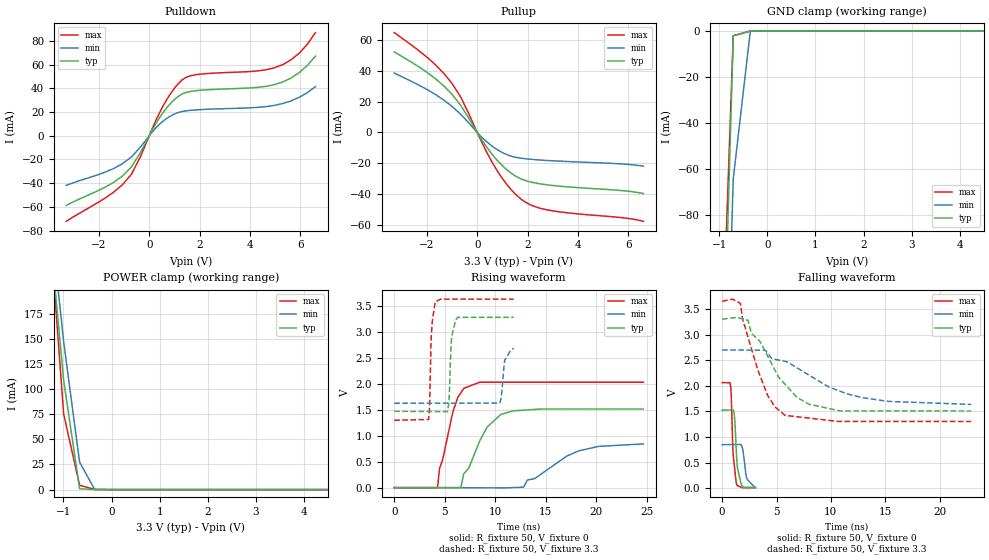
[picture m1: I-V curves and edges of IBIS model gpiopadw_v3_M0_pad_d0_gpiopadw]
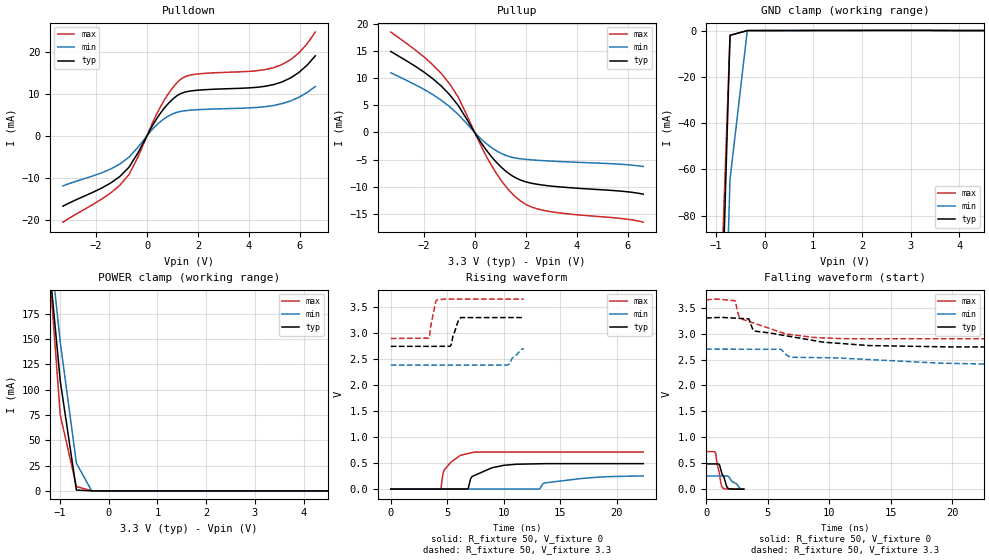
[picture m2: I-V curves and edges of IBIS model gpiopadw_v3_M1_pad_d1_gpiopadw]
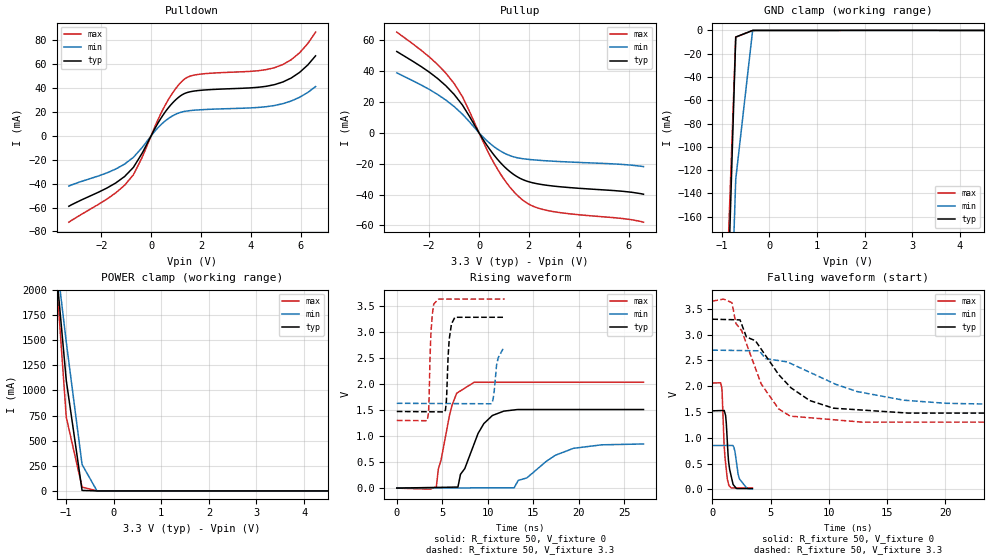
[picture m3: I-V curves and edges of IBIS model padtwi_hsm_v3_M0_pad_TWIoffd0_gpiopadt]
|   - ATMEL Microcontrollers -
|   IBIS model for SAMD21_TQFP64
[IBIS Ver]   4.2
[Comment char]  |_char
[File Name]   samda1_3t64.ibs
[File Rev]   1.0
[Date]   9-SEP-2015 10:12:33
[Source]   By GENIBIS V3.5 - GENerate chip IBIS model - 07-SEP-2015
[Notes]   Property of ATMEL Corporation
[Disclaimer]
                  (C) Copyright ATMEL Nantes 2002-2015
Atmel Nantes makes no warranty for the use of its products, other than
those expressly contained in the Company's standard warranty which is detailed
in Atmel's Terms and Conditions located on the Company's web site. The Company
assumes no responsability for any errors which may appear in this document.
The user is granted this license only to use the IBIS model and is not granted
rights to sell, load, rent, lease or license the IBIS model in whole or in part,
or in modified form to anyone other than user. User may modify the IBIS model
to suit its specific applications but rights to derivative works and such
modifications shall belong to Atmel Nantes.
This IBIS model is provided on an \"AS IS\" basis and Atmel Nantes makes
absolutely no warranty with respect to the information contained herein.
[Copyright]   Copyright (c) 2002-2015 by ATMEL Nantes SA
|   COMPONENT : SAMD21_TQFP64
[Component]   SAMD21_TQFP64
[Manufacturer]  ATMEL Nantes SAS
[Package]
| Package family : TQFP_L
| RLC file   : V1.0
| RLCEDIT tool   : V1.3-2009/04/07
| variable   typ   min   max
R_pkg   250.18m   122.57m   300.80m
L_pkg   8.62n   4.19n   10.38n
C_pkg   373.74f   366.79f   384.07f
[Pin]   signal_name   model_name   R_pin   L_pin   C_pin
|   Real model names   <--->   IBIS model names
|   gpiopadw100m33v3p66k25   gpiopadw_v3
|   gpiopadw100m33v3p66k25   gpiopadw_v3
|  gpiopadtwihsmw100m33v3p66k25   gpiopadtwi_hsm_v3
|  gpiopadtwihsmw100m33v3p66k25   gpiopadtwi_hsm_v3
|  gpiopadtwihsmw100m33v3p66k25   gpiopadtwi_hsm_v3
|  gpiopadtwihsmw100m33v3p66k25   gpiopadtwi_hsm_v3
|  gpiopadtwihsmw100m33v3p66k25   gpiopadtwi_hsm_v3
   1   PA00   gpiopadw_v3  283.35m   9.63n  373.72f
   2   PA01   gpiopadw_v3  263.35m   9.25n  373.60f
   3   PA02   gpiopadw_v3  273.35m   9.29n  373.61f
   4   PA03   gpiopadw_v3  263.35m   9.03n  373.53f
   5   PB04   gpiopadw_v3  253.35m   8.74n  373.44f
   6   PB05   gpiopadw_v3  243.35m   8.53n  373.37f
   7   GNDANA   GND  130.02m   4.56n  377.04f
   8   VDDANA   POWER  158.35m   5.53n  375.20f
   9   PB06   gpiopadw_v3  243.35m   8.39n  373.33f
   10   PB07   gpiopadw_v3  243.35m   8.32n  373.31f
   11   PB08   gpiopadw_v3  243.35m   8.27n  373.29f
   12   PB09   gpiopadw_v3  243.35m   8.33n  373.31f
   13   PA04   gpiopadw_v3  243.35m   8.48n  373.36f
   14   PA05   gpiopadw_v3  253.35m   8.67n  373.42f
   15   PA06   gpiopadw_v3  263.35m   8.98n  373.52f
   16   PA07   gpiopadw_v3  273.35m   9.35n  373.63f
   17   PA08   gpiopadtwi_hsm_v3  293.35m   10.02n  373.84f
   18   PA09   gpiopadtwi_hsm_v3  283.35m   9.69n  373.74f
   19   PA10   gpiopadw_v3  273.35m   9.34n  373.63f
   20   PA11   gpiopadw_v3  263.35m   9.04n  373.54f
   21   VDDIO   POWER  253.35m   8.83n  373.47f
   22   GND   GND  253.35m   8.71n  373.43f
   23   PB10   gpiopadw_v3  253.35m   8.68n  373.42f
   24   PB11   gpiopadw_v3  253.35m   8.74n  373.44f
   25   PB12   gpiopadtwi_hsm_v3  253.35m   8.75n  373.44f
   26   PB13   gpiopadtwi_hsm_v3  253.35m   8.77n  373.45f
   27   PB14   gpiopadw_v3  253.35m   8.73n  373.44f
   28   PB15   gpiopadw_v3  253.35m   8.87n  373.48f
   29   PA12   gpiopadtwi_hsm_v3  263.35m   9.03n  373.53f
   30   PA13   gpiopadtwi_hsm_v3  263.35m   9.24n  373.60f
   31   PA14   gpiopadw_v3  273.35m   9.48n  373.67f
   32   PA15   gpiopadw_v3  273.35m   9.42n  373.66f
   33   GND   GND  273.35m   9.35n  373.63f
   34   VDDIO   POWER  263.35m   8.98n  373.52f
   35   PA16   gpiopadtwi_hsm_v3  253.35m   8.82n  373.47f
   36   PA17   gpiopadtwi_hsm_v3  253.35m   8.62n  373.40f
   37   PA18   gpiopadw_v3  243.35m   8.42n  373.34f
   38   PA19   gpiopadw_v3  243.35m   8.32n  373.31f
   39   PB16   gpiopadtwi_hsm_v3  243.35m   8.32n  373.31f
   40   PB17   gpiopadtwi_hsm_v3  243.35m   8.39n  373.33f
   41   PA20   gpiopadw_v3  243.35m   8.45n  373.35f
   42   PA21   gpiopadw_v3  243.35m   8.54n  373.38f
   43   PA22   gpiopadtwi_hsm_v3  243.35m   8.51n  373.37f
   44   PA23   gpiopadtwi_hsm_v3  253.35m   8.65n  373.41f
   45   PA24   NC  253.35m   8.90n  373.49f
   46   PA25   NC  253.35m   8.81n  373.46f
   47   GND   GND  263.35m   9.12n  373.56f
   48   VDDIO   POWER  273.35m   9.51n  373.69f
   49   PB22   gpiopadw_v3  283.35m   9.77n  373.77f
   50   PB23   gpiopadw_v3  273.35m   9.42n  373.66f
   51   PA27   gpiopadw_v3  283.35m   9.62n  373.72f
   52   RESET_N   gpiopadw_v3  273.35m   9.37n  373.64f
   53   PA28   gpiopadw_v3  263.35m   9.09n  373.55f
   54   GND   GND  136.68m   4.74n  377.57f
   55   VDDCORE   POWER  135.53m   4.72n  377.50f
   56   VDDIN   POWER  163.35m   5.74n  375.46f
   57   PA30   gpiopadw_v3  253.35m   8.77n  373.45f
   58   PA31   gpiopadw_v3  253.35m   8.66n  373.41f
   59   PB30   gpiopadtwi_hsm_v3  253.35m   8.61n  373.40f
   60   PB31   gpiopadtwi_hsm_v3  253.35m   8.63n  373.40f
   61   PB00   gpiopadw_v3  253.35m   8.66n  373.41f
   62   PB01   gpiopadw_v3  253.35m   8.77n  373.45f
   63   PB02   gpiopadw_v3  263.35m   9.02n  373.53f
   64   PB03   gpiopadw_v3  283.35m   9.70n  373.75f
|   MODEL SELECTOR : gpiopadtwi_hsm_v3
[Model Selector]   gpiopadtwi_hsm_v3
piopadtwi_hsm_v3_M4_pad_TWIHS_gpiopadt   TWI on HS mode
padtwi_hsm_v3_M3_pad_TWIfastp_gpiopadt   TWI on fastp mode
opadtwi_hsm_v3_M2_pad_TWIfast_gpiopadt   TWI on fast mode
padtwi_hsm_v3_M1_pad_TWIoffd1_gpiopadt   TWI off Drive 1
padtwi_hsm_v3_M0_pad_TWIoffd0_gpiopadt   TWI off Drive 0
|   MODEL SELECTOR : gpiopadw_v3
[Model Selector]   gpiopadw_v3
gpiopadw_v3_M1_pad_d1_gpiopadw   Drive 1
gpiopadw_v3_M0_pad_d0_gpiopadw   Drive 0
| Models and submodels in the file (7): gpiopadw_v3_M0_pad_d0_gpiopadw (I/O), gpiopadw_v3_M1_pad_d1_gpiopadw (I/O), padtwi_hsm_v3_M0_pad_TWIoffd0_gpiopadt (I/O), padtwi_hsm_v3_M1_pad_TWIoffd1_gpiopadt (I/O), opadtwi_hsm_v3_M2_pad_TWIfast_gpiopadt (I/O_open_sink), padtwi_hsm_v3_M3_pad_TWIfastp_gpiopadt (I/O_open_sink), piopadtwi_hsm_v3_M4_pad_TWIHS_gpiopadt (I/O_open_sink)
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|   MODEL : gpiopadw_v3_M0_pad_d0_gpiopadw
[Model] gpiopadw_v3_M0_pad_d0_gpiopadw
Model_type I/O
Vinl  =  0.99
Vinh  =  2.31
Vmeas =  1.650
| Capacitance   typ   min   max
C_comp   1.66304312273e-12   1.63252795871e-12   1.70861930316e-12
| Variables   typ   min   max
[GND Clamp Reference]   0   0   0
[POWER Clamp Reference]   3.3   2.7   3.65
[Pulldown Reference]   0   0   0
[Pullup Reference]   3.3   2.7   3.65
[Temperature Range]   25   125   -40
[Voltage Range]   3.3   2.7   3.65
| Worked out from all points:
|   slope of the pulldown table from 0 to 0.495 V, typ, clamps not added: 27.5 ohm
|   slope of the pullup table from 0 to 0.495 V, typ, clamps not added: 40.8 ohm
|   falling waveform, R_fixture 50, V_fixture 0: 20-80 % time 298ps typ, 361ps min, 272ps max; typ from 1.52 V to 0.019 V
|   falling waveform, R_fixture 50, V_fixture 3.3: 20-80 % time 3.38ns typ, 5.86ns min, 2.25ns max; typ from 3.3 V to 1.51 V
|   rising waveform, R_fixture 50, V_fixture 0: 20-80 % time 2.4ns typ, 4.07ns min, 1.55ns max; typ from 0 V to 1.52 V
|   rising waveform, R_fixture 50, V_fixture 3.3: 20-80 % time 259ps typ, 352ps min, 230ps max; typ from 1.47 V to 3.29 V
[GND Clamp]
| Voltage   I(typ)   I(min)   I(max)
-3.3V     -2.362A    -2.027A    -2.873A
-1.064V   -257.9mA   -309.5mA   -212.6mA
-709.1mV  -2.081mA   -64.32mA   -2.027mA
-354.5mV  -9.795uA   -18.97uA   -10.28uA
6.6V      0A         0A         0A
[POWER Clamp]
| Voltage   I(typ)   I(min)   I(max)
-3.3V     1.517A     1.371A     1.827A
-1.327V   278.9mA    297.7mA    290.1mA
-995.5mV  108.7mA    147.1mA    75.16mA
-663.6mV  871.4uA    27.33mA    4.301mA
-350mV    92.45uA    84.3uA     195.9uA
6.6V      0A         0A         0A
[Pulldown]
| Voltage   I(typ)   I(min)   I(max)
-3.3V     -58.88mA   -41.96mA   -72.24mA
-1.418V   -39.39mA   -27.71mA   -47.66mA
-709.1mV  -26.31mA   -17.91mA   -32.48mA
-354.5mV  -14.28mA   -9.586mA   -17.76mA
515.6mV   18.6mA     11.67mA    23.82mA
928.1mV   29.06mA    17.55mA    37.97mA
1.341V    35.5mA     20.52mA    47.61mA
1.959V    38.15mA    21.89mA    51.71mA
4.959V    43mA       25.51mA    57.2mA
5.623V    48.51mA    29.27mA    63.83mA
5.955V    53.16mA    32.34mA    69.54mA
6.6V      67.08mA    41.35mA    86.97mA
[Pullup]
| Voltage   I(typ)   I(min)   I(max)
-3.3V     52.49mA    38.7mA     65.06mA
-1.991V   39.1mA     27.93mA    48.92mA
-1.327V   30.29mA    21.05mA    38.45mA
-995.5mV  24.69mA    16.87mA    31.75mA
-663.6mV  17.83mA    11.94mA    23.26mA
206.2mV   -5.471mA   -3.514mA   -7.179mA
670.3mV   -15.85mA   -9.846mA   -21.64mA
1.238V    -25.15mA   -14.82mA   -35.16mA
1.753V    -30.32mA   -16.81mA   -43.55mA
2.217V    -32.63mA   -17.62mA   -47.88mA
2.888V    -34.35mA   -18.36mA   -50.77mA
6.6V      -39.82mA   -21.92mA   -57.89mA
[Ramp]
dV/dt_r   0.913465/2.40986n  0.509894/4.08937n  1.23694/1.57578n
dV/dt_f   1.09591/3.45864n  0.641714/5.88566n  1.40951/2.25851n
R_load = 50
[Falling Waveform]
R_fixture = 50
V_fixture = 0
V_fixture_min = 0
V_fixture_max = 0
| Time   V(typ)   V(min)   V(max)
0s        1.522V     849.8mV    2.062V
728.3ps   1.528V     851.9mV    2.059V
803.6ps   1.528V     852.1mV    1.953V
964.1ps   1.529V     852.6mV    907.5mV
1.024ns   1.525V     852.7mV    637.7mV
1.181ns   1.28V      853.2mV    328.5mV
1.371ns   495.4mV    853.7mV    53.35mV
1.916ns   18.9mV     729.5mV    8.835mV
2.237ns   18.88mV    216.3mV    8.827mV
3.06ns    18.84mV    7.011mV    8.806mV
[Falling Waveform]
R_fixture = 50
V_fixture = 3.3
V_fixture_min = 2.7
V_fixture_max = 3.65
| Time   V(typ)   V(min)   V(max)
0s        3.3V       2.7V       3.65V
1.679ns   3.315V     2.698V     3.61V
1.877ns   3.305V     2.697V     3.306V
2.383ns   3.278V     2.696V     2.947V
2.681ns   3.026V     2.696V     2.734V
4.176ns   2.583V     2.64V      1.817V
5.785ns   2.03V      2.477V     1.422V
7.983ns   1.64V      2.209V     1.369V
10.84ns   1.51V      1.894V     1.303V
22.91ns   1.508V     1.635V     1.303V
[Rising Waveform]
R_fixture = 50
V_fixture = 0
V_fixture_min = 0
V_fixture_max = 0
| Time   V(typ)   V(min)   V(max)
0s        2.582nV    48.34nV    2.171nV
4.261ns   773.7uV    -1.705mV   -773.6uV
5.823ns   1.057mV    -2.33mV    1.473V
6.601ns   1.199mV    -2.642mV   1.831V
6.902ns   268.5mV    -2.762mV   1.918V
9.202ns   1.17V      -3.683mV   2.035V
10.55ns   1.411V     -4.222mV   2.036V
12.81ns   1.496V     8.964mV    2.036V
18.26ns   1.519V     708.9mV    2.036V
24.68ns   1.519V     845mV      2.037V
[Rising Waveform]
R_fixture = 50
V_fixture = 3.3
V_fixture_min = 2.7
V_fixture_max = 3.65
| Time   V(typ)   V(min)   V(max)
0s        1.473V     1.63V      1.301V
3.407ns   1.471V     1.631V     1.316V
3.681ns   1.47V      1.631V     2.961V
4.067ns   1.47V      1.631V     3.591V
5.284ns   1.469V     1.632V     3.64V
5.67ns    2.843V     1.632V     3.64V
6.294ns   3.289V     1.632V     3.641V
10.44ns   3.289V     1.633V     3.641V
10.95ns   3.289V     2.463V     3.641V
11.83ns   3.289V     2.693V     3.641V
|   MODEL : gpiopadw_v3_M1_pad_d1_gpiopadw
[Model] gpiopadw_v3_M1_pad_d1_gpiopadw
Model_type I/O
Vinl  =  0.99
Vinh  =  2.31
Vmeas =  1.650
| Capacitance   typ   min   max
C_comp   1.66304312273e-12   1.63252795871e-12   1.70861930316e-12
| Variables   typ   min   max
[GND Clamp Reference]   0   0   0
[POWER Clamp Reference]   3.3   2.7   3.65
[Pulldown Reference]   0   0   0
[Pullup Reference]   3.3   2.7   3.65
[Temperature Range]   25   125   -40
[Voltage Range]   3.3   2.7   3.65
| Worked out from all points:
|   slope of the pulldown table from 0 to 0.495 V, typ, clamps not added: 96.6 ohm
|   slope of the pullup table from 0 to 0.495 V, typ, clamps not added: 143 ohm
|   falling waveform, R_fixture 50, V_fixture 0: 20-80 % time 434ps typ, 689ps min, 335ps max; typ from 0.488 V to 0.002 V
|   falling waveform, R_fixture 50, V_fixture 3.3: 20-80 % time 5.41ns typ, 11.3ns min, 3.28ns max; typ from 3.3 V to 2.74 V
|   rising waveform, R_fixture 50, V_fixture 0: 20-80 % time 1.81ns typ, 3.53ns min, 1.14ns max; typ from 0 V to 0.488 V
|   rising waveform, R_fixture 50, V_fixture 3.3: 20-80 % time 469ps typ, 769ps min, 391ps max; typ from 2.74 V to 3.29 V
[GND Clamp]
| Voltage   I(typ)   I(min)   I(max)
-3.3V     -2.362A    -2.027A    -2.873A
-1.064V   -257.9mA   -309.5mA   -212.6mA
-709.1mV  -2.081mA   -64.32mA   -2.027mA
-354.5mV  -9.795uA   -18.97uA   -10.28uA
6.6V      0A         0A         0A
[POWER Clamp]
| Voltage   I(typ)   I(min)   I(max)
-3.3V     1.517A     1.371A     1.827A
-1.327V   278.9mA    297.7mA    290.1mA
-995.5mV  108.7mA    147.1mA    75.16mA
-663.6mV  871.4uA    27.33mA    4.301mA
-350mV    92.45uA    84.3uA     195.9uA
6.6V      0A         0A         0A
[Pulldown]
| Voltage   I(typ)   I(min)   I(max)
-3.3V     -16.81mA   -11.98mA   -20.62mA
-1.418V   -11.24mA   -7.909mA   -13.6mA
-709.1mV  -7.507mA   -5.111mA   -9.27mA
-354.5mV  -4.075mA   -2.733mA   -5.068mA
515.6mV   5.306mA    3.327mA    6.796mA
928.1mV   8.286mA    4.999mA    10.83mA
1.341V    10.12mA    5.842mA    13.58mA
1.959V    10.87mA    6.222mA    14.73mA
4.959V    12.21mA    7.236mA    16.25mA
5.623V    13.79mA    8.311mA    18.15mA
5.955V    15.12mA    9.189mA    19.78mA
6.6V      19.1mA     11.76mA    24.76mA
[Pullup]
| Voltage   I(typ)   I(min)   I(max)
-3.3V     14.93mA    11.01mA    18.5mA
-1.991V   11.1mA     7.928mA    13.89mA
-1.327V   8.583mA    5.963mA    10.9mA
-995.5mV  6.986mA    4.768mA    8.985mA
-663.6mV  5.027mA    3.359mA    6.562mA
206.2mV   -1.618mA   -1.044mA   -2.121mA
670.3mV   -4.574mA   -2.846mA   -6.242mA
1.238V    -7.224mA   -4.257mA   -10.1mA
1.753V    -8.69mA    -4.818mA   -12.48mA
2.217V    -9.342mA   -5.041mA   -13.71mA
2.888V    -9.821mA   -5.244mA   -14.52mA
6.6V      -11.37mA   -6.256mA   -16.52mA
[Ramp]
dV/dt_r   0.29303/1.81615n  0.153451/3.6734n  0.435885/1.21605n
dV/dt_f   0.33636/5.46397n  0.191811/11.4694n  0.455658/3.3629n
R_load = 50
[Falling Waveform]
R_fixture = 50
V_fixture = 0
V_fixture_min = 0
V_fixture_max = 0
| Time   V(typ)   V(min)   V(max)
0s        488.4mV    255.8mV    726.5mV
706ps     488.4mV    256mV      726.2mV
784.5ps   488.4mV    256mV      679.2mV
900.9ps   488.4mV    256mV      477.6mV
1.098ns   464mV      256.1mV    274.2mV
1.259ns   320.5mV    256.1mV    59.01mV
1.392ns   254.2mV    256.2mV    16.26mV
1.665ns   58.74mV    256.3mV    4.195mV
1.817ns   13.36mV    244.6mV    4.193mV
3.056ns   2.001mV    2.028mV    4.178mV
[Falling Waveform]
R_fixture = 50
V_fixture = 3.3
V_fixture_min = 2.7
V_fixture_max = 3.65
| Time   V(typ)   V(min)   V(max)
0s        3.3V       2.7V       3.65V
2.364ns   3.297V     2.699V     3.631V
2.6ns     3.294V     2.698V     3.38V
2.833ns   3.291V     2.698V     3.284V
3.467ns   3.283V     2.698V     3.234V
3.906ns   3.049V     2.698V     3.198V
6.073ns   2.974V     2.696V     3.025V
8.761ns   2.865V     2.537V     2.924V
13.25ns   2.768V     2.499V     2.9V
35.59ns   2.742V     2.383V     2.899V
[Rising Waveform]
R_fixture = 50
V_fixture = 0
V_fixture_min = 0
V_fixture_max = 0
| Time   V(typ)   V(min)   V(max)
0s        5.117nV    82.72nV    4.625nV
4.4ns     47.85uV    140.5uV    -2.045mV
4.722ns   51.35uV    150.8uV    361.3mV
5.3ns     57.64uV    169.3uV    511.7mV
6.814ns   74.1uV     217.6uV    680.4mV
7.073ns   199.9mV    225.8uV    693.7mV
7.396ns   260mV      236.2uV    710.2mV
11.13ns   476.8mV    355.4uV    710.4mV
16.89ns   487.6mV    202.6mV    710.6mV
22.37ns   487.7mV    252.1mV    710.9mV
[Rising Waveform]
R_fixture = 50
V_fixture = 3.3
V_fixture_min = 2.7
V_fixture_max = 3.65
| Time   V(typ)   V(min)   V(max)
0s        2.739V     2.38V      2.891V
3.37ns    2.74V      2.38V      2.897V
3.537ns   2.74V      2.38V      3.131V
3.967ns   2.74V      2.38V      3.585V
4.121ns   2.74V      2.38V      3.635V
5.241ns   2.74V      2.38V      3.647V
5.931ns   3.203V     2.38V      3.647V
6.221ns   3.292V     2.38V      3.647V
10.32ns   3.292V     2.38V      3.647V
11.79ns   3.292V     2.697V     3.647V
|   MODEL : padtwi_hsm_v3_M0_pad_TWIoffd0_gpiopadt
[Model] padtwi_hsm_v3_M0_pad_TWIoffd0_gpiopadt
Model_type I/O
Vinl  =  0.99
Vinh  =  2.31
Vmeas =  1.650
| Capacitance   typ   min   max
C_comp   2.36291568293e-12   2.32408753346e-12   2.43079406038e-12
| Variables   typ   min   max
[GND Clamp Reference]   0   0   0
[POWER Clamp Reference]   3.3   2.7   3.65
[Pulldown Reference]   0   0   0
[Pullup Reference]   3.3   2.7   3.65
[Temperature Range]   25   125   -40
[Voltage Range]   3.3   2.7   3.65
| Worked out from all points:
|   slope of the pulldown table from 0 to 0.495 V, typ, clamps not added: 27.5 ohm
|   slope of the pullup table from 0 to 0.495 V, typ, clamps not added: 40.8 ohm
|   falling waveform, R_fixture 50, V_fixture 0: 20-80 % time 343ps typ, 454ps min, 298ps max; typ from 1.52 V to 0.016 V
|   falling waveform, R_fixture 50, V_fixture 3.3: 20-80 % time 4.45ns typ, 7.65ns min, 2.88ns max; typ from 3.3 V to 1.48 V
|   rising waveform, R_fixture 50, V_fixture 0: 20-80 % time 2.31ns typ, 4.36ns min, 1.51ns max; typ from 0 V to 1.51 V
|   rising waveform, R_fixture 50, V_fixture 3.3: 20-80 % time 318ps typ, 418ps min, 276ps max; typ from 1.47 V to 3.29 V
[GND Clamp]
| Voltage   I(typ)   I(min)   I(max)
-3.3V     -4.288A    -3.569A    -5.225A
-1.064V   -482mA     -569.2mA   -405mA
-709.1mV  -5.649mA   -127.8mA   -5.822mA
-354.5mV  -11.29uA   -35.33uA   -10.56uA
6.6V      0A         0A         0A
[POWER Clamp]
| Voltage   I(typ)   I(min)   I(max)
-3.3V     13.48A     10.93A     16.51A
-1.327V   2.843A     2.81A      2.962A
-995.5mV  1.1A       1.483A     734.4mA
-663.6mV  5.056mA    263.2mA    38.36mA
-350mV    102.6uA    153.5uA    658.2uA
6.6V      0A         0A         0A
[Pulldown]
| Voltage   I(typ)   I(min)   I(max)
-3.3V     -58.88mA   -41.96mA   -72.24mA
-1.418V   -39.39mA   -27.71mA   -47.66mA
-709.1mV  -26.31mA   -17.91mA   -32.48mA
-354.5mV  -14.28mA   -9.586mA   -17.76mA
515.6mV   18.6mA     11.67mA    23.82mA
928.1mV   29.06mA    17.55mA    37.97mA
1.341V    35.5mA     20.52mA    47.61mA
1.959V    38.15mA    21.89mA    51.71mA
4.959V    43mA       25.51mA    57.2mA
5.623V    48.51mA    29.27mA    63.83mA
5.955V    53.16mA    32.34mA    69.54mA
6.6V      67.08mA    41.35mA    86.97mA
[Pullup]
| Voltage   I(typ)   I(min)   I(max)
-3.3V     52.49mA    38.7mA     65.06mA
-1.991V   39.1mA     27.93mA    48.92mA
-1.327V   30.29mA    21.05mA    38.45mA
-995.5mV  24.69mA    16.87mA    31.75mA
-663.6mV  17.83mA    11.94mA    23.26mA
206.2mV   -5.471mA   -3.514mA   -7.179mA
670.3mV   -15.85mA   -9.846mA   -21.64mA
1.238V    -25.15mA   -14.82mA   -35.16mA
1.753V    -30.32mA   -16.81mA   -43.55mA
2.217V    -32.63mA   -17.62mA   -47.88mA
2.888V    -34.35mA   -18.36mA   -50.77mA
6.6V      -39.82mA   -21.92mA   -57.89mA
[Ramp]
dV/dt_r   0.913465/2.32576n  0.509894/4.36936n  1.23694/1.55082n
dV/dt_f   1.09591/4.4668n  0.641712/7.67878n  1.40951/2.8833n
R_load = 50
[Falling Waveform]
R_fixture = 50
V_fixture = 0
V_fixture_min = 0
V_fixture_max = 0
| Time   V(typ)   V(min)   V(max)
0s        1.522V     849.8mV    2.062V
809.5ps   1.528V     850.6mV    1.972V
1.007ns   1.53V      850.8mV    873mV
1.083ns   1.477V     850.9mV    625.9mV
1.199ns   1.278V     851mV      381.5mV
1.427ns   484.6mV    851.2mV    70.99mV
1.852ns   74.91mV    814.7mV    26.25mV
2.072ns   15.81mV    523.3mV    26.23mV
2.326ns   15.8mV     201.4mV    26.21mV
3.438ns   15.75mV    2.895mV    26.13mV
[Falling Waveform]
R_fixture = 50
V_fixture = 3.3
V_fixture_min = 2.7
V_fixture_max = 3.65
| Time   V(typ)   V(min)   V(max)
0s        3.3V       2.7V       3.65V
1.682ns   3.291V     2.695V     3.621V
2.02ns    3.289V     2.693V     3.22V
2.523ns   3.199V     2.692V     3.076V
2.929ns   2.954V     2.691V     2.825V
4.189ns   2.722V     2.643V     2.046V
6.677ns   1.988V     2.447V     1.421V
10.4ns    1.574V     2.059V     1.35V
16.46ns   1.484V     1.728V     1.303V
29.2ns    1.479V     1.633V     1.303V
[Rising Waveform]
R_fixture = 50
V_fixture = 0
V_fixture_min = 0
V_fixture_max = 0
| Time   V(typ)   V(min)   V(max)
0s        14.43nV    265.7nV    12.15nV
4.354ns   12.94mV    2.219mV    24.66mV
4.57ns    13.58mV    2.329mV    365.8mV
6.093ns   18.11mV    3.105mV    1.601V
6.727ns   19.99mV    3.428mV    1.839V
8.512ns   852mV      4.338mV    2.035V
9.579ns   1.24V      4.882mV    2.035V
11.77ns   1.48V      5.998mV    2.035V
19.43ns   1.511V     764.8mV    2.036V
27.14ns   1.511V     848.7mV    2.036V
[Rising Waveform]
R_fixture = 50
V_fixture = 3.3
V_fixture_min = 2.7
V_fixture_max = 3.65
| Time   V(typ)   V(min)   V(max)
0s        1.473V     1.63V      1.301V
3.352ns   1.468V     1.628V     1.296V
3.499ns   1.468V     1.627V     1.457V
3.761ns   1.467V     1.627V     2.99V
4.064ns   1.467V     1.627V     3.538V
5.357ns   1.504V     1.626V     3.635V
5.77ns    2.865V     1.625V     3.635V
6.392ns   3.285V     1.625V     3.635V
10.48ns   3.285V     1.641V     3.635V
11.86ns   3.285V     2.69V      3.635V
